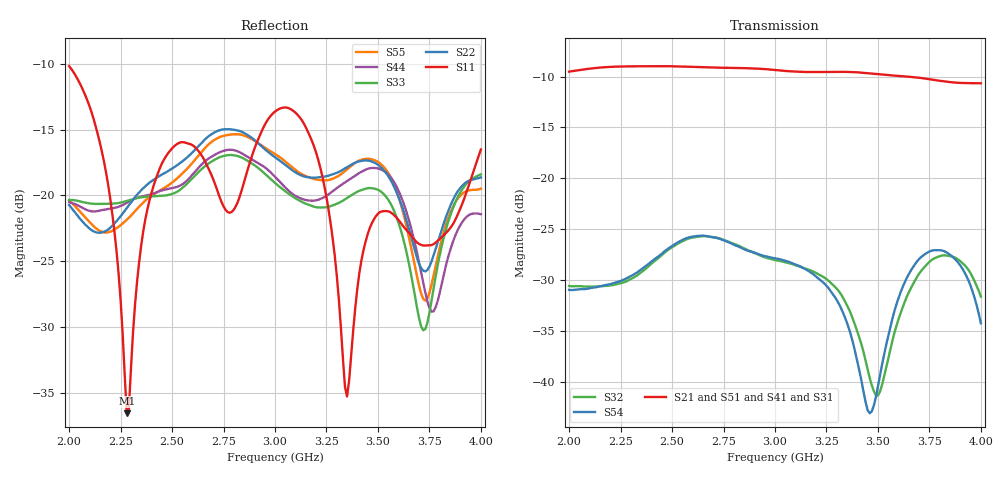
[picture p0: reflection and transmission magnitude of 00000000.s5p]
! Created with skrf 1.8.0 (http://scikit-rf.org).
# Hz S RI R 50.0
!freq ReS11 ImS11 ReS12 ImS12 ReS13 ImS13
! ReS14 ImS14 ReS15 ImS15
! ReS21 ImS21 ReS22 ImS22 ReS23 ImS23
! ReS24 ImS24 ReS25 ImS25
! ReS31 ImS31 ReS32 ImS32 ReS33 ImS33
! ReS34 ImS34 ReS35 ImS35
! ReS41 ImS41 ReS42 ImS42 ReS43 ImS43
! ReS44 ImS44 ReS45 ImS45
! ReS51 ImS51 ReS52 ImS52 ReS53 ImS53
! ReS54 ImS54 ReS55 ImS55
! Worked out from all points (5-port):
!   201 points, 2 GHz to 4 GHz, reference 50 ohm
!   strongest paths, dB at 2 GHz, 2.5 GHz, 3 GHz, 3.5 GHz, 4 GHz:
!     S21: -9.5, -9.0, -9.3, -9.7, -10.7
!     S51: -9.6, -9.0, -9.4, -9.7, -10.2
!     S41: -9.6, -9.0, -9.4, -9.8, -10.6
!     S31: -9.7, -9.2, -9.6, -9.9, -10.9
!     S54: -31.0, -26.7, -27.9, -40.5, -34.3
!     S32: -30.6, -26.8, -28.0, -41.4, -31.6
!   lowest |S11| = -36.6 dB at 2.28 GHz (marker M1), VSWR 1.03, Z = 48.9 + j1.02 ohm
!   |S11| at or under -10 dB: start of sweep to end of sweep
